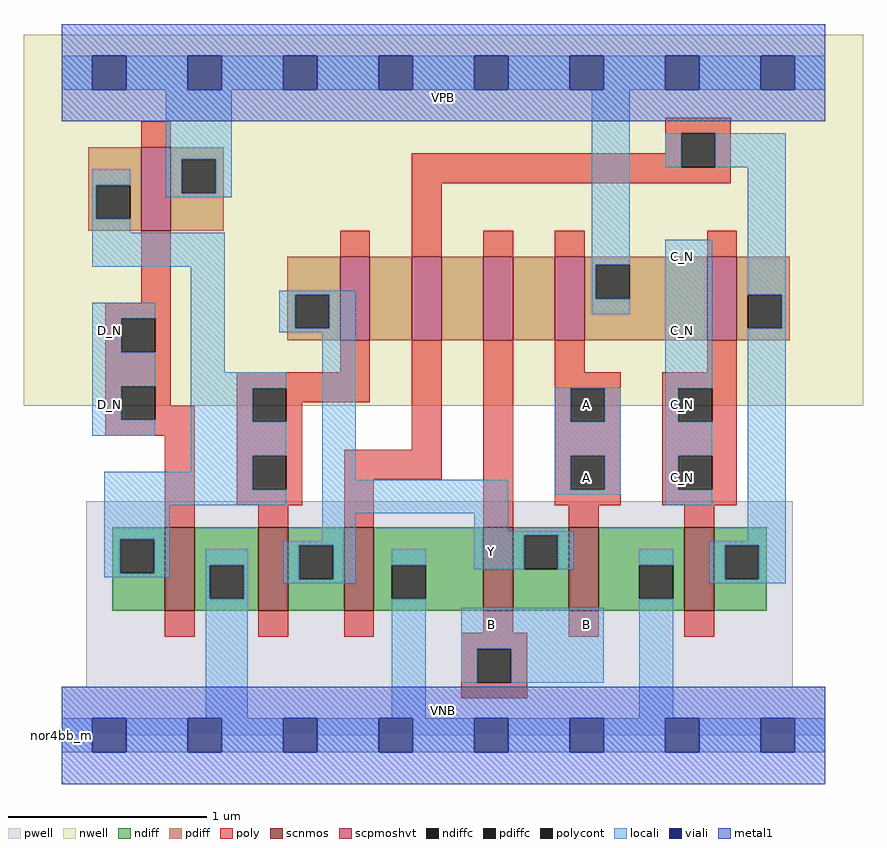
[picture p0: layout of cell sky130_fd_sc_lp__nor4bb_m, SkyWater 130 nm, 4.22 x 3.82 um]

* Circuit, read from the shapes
.subckt sky130_fd_sc_lp__nor4bb_m A B C_N D_N VGND VNB VPB VPWR Y
XM1 VGND D_N n1 VNB sky130_fd_pr__nfet_01v8 w=0.42 l=0.15
XM2 Y n1 VGND VNB sky130_fd_pr__nfet_01v8 w=0.42 l=0.15
XM3 VGND n2 Y VNB sky130_fd_pr__nfet_01v8 w=0.42 l=0.15
XM4 Y B VGND VNB sky130_fd_pr__nfet_01v8 w=0.42 l=0.15
XM5 VGND A Y VNB sky130_fd_pr__nfet_01v8 w=0.42 l=0.15
XM6 n2 C_N VGND VNB sky130_fd_pr__nfet_01v8 w=0.42 l=0.15
XM7 VPWR D_N n1 VPB sky130_fd_pr__pfet_01v8_hvt w=0.42 l=0.15
XM8 n3 n1 Y VPB sky130_fd_pr__pfet_01v8_hvt w=0.42 l=0.15
XM9 n4 n2 n3 VPB sky130_fd_pr__pfet_01v8_hvt w=0.42 l=0.15
XM10 n5 B n4 VPB sky130_fd_pr__pfet_01v8_hvt w=0.42 l=0.15
XM11 VPWR A n5 VPB sky130_fd_pr__pfet_01v8_hvt w=0.42 l=0.15
XM12 n2 C_N VPWR VPB sky130_fd_pr__pfet_01v8_hvt w=0.42 l=0.15
.ends

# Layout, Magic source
magic
tech sky130A
magscale 1 2
<< nwell >>
rect -38 331 806 704
<< pwell >>
rect 25 49 735 235
rect 0 0 768 49
<< scnmos >>
rect 104 125 134 209
rect 198 125 228 209
rect 284 125 314 209
rect 424 125 454 209
rect 510 125 540 209
rect 626 125 656 209
<< scpmoshvt >>
rect 80 507 110 591
rect 280 397 310 481
rect 352 397 382 481
rect 424 397 454 481
rect 496 397 526 481
rect 649 397 679 481
<< ndiff >>
rect 51 197 104 209
rect 51 163 59 197
rect 93 163 104 197
rect 51 125 104 163
rect 134 171 198 209
rect 134 137 149 171
rect 183 137 198 171
rect 134 125 198 137
rect 228 191 284 209
rect 228 157 239 191
rect 273 157 284 191
rect 228 125 284 157
rect 314 171 424 209
rect 314 137 332 171
rect 366 137 424 171
rect 314 125 424 137
rect 454 201 510 209
rect 454 167 465 201
rect 499 167 510 201
rect 454 125 510 167
rect 540 171 626 209
rect 540 137 581 171
rect 615 137 626 171
rect 540 125 626 137
rect 656 191 709 209
rect 656 157 667 191
rect 701 157 709 191
rect 656 125 709 157
<< pdiff >>
rect 27 553 80 591
rect 27 519 35 553
rect 69 519 80 553
rect 27 507 80 519
rect 110 579 163 591
rect 110 545 121 579
rect 155 545 163 579
rect 110 507 163 545
rect 227 443 280 481
rect 227 409 235 443
rect 269 409 280 443
rect 227 397 280 409
rect 310 397 352 481
rect 382 397 424 481
rect 454 397 496 481
rect 526 473 649 481
rect 526 439 537 473
rect 571 439 649 473
rect 526 397 649 439
rect 679 443 732 481
rect 679 409 690 443
rect 724 409 732 443
rect 679 397 732 409
<< ndiffc >>
rect 59 163 93 197
rect 149 137 183 171
rect 239 157 273 191
rect 332 137 366 171
rect 465 167 499 201
rect 581 137 615 171
rect 667 157 701 191
<< pdiffc >>
rect 35 519 69 553
rect 121 545 155 579
rect 235 409 269 443
rect 537 439 571 473
rect 690 409 724 443
<< poly >>
rect 80 591 110 617
rect 607 605 673 621
rect 607 585 623 605
rect 352 571 623 585
rect 657 571 673 605
rect 352 555 673 571
rect 80 435 110 507
rect 280 481 310 507
rect 352 481 382 555
rect 424 481 454 507
rect 496 481 526 507
rect 649 481 679 507
rect 44 419 110 435
rect 44 385 60 419
rect 94 385 110 419
rect 44 351 110 385
rect 280 365 310 397
rect 44 317 60 351
rect 94 331 110 351
rect 176 349 310 365
rect 94 317 134 331
rect 44 301 134 317
rect 104 209 134 301
rect 176 315 192 349
rect 226 335 310 349
rect 226 315 242 335
rect 176 281 242 315
rect 352 287 382 397
rect 176 247 192 281
rect 226 247 242 281
rect 176 231 242 247
rect 284 257 382 287
rect 198 209 228 231
rect 284 209 314 257
rect 424 209 454 397
rect 496 365 526 397
rect 649 365 679 397
rect 496 349 562 365
rect 496 315 512 349
rect 546 315 562 349
rect 496 281 562 315
rect 496 247 512 281
rect 546 247 562 281
rect 496 231 562 247
rect 604 349 679 365
rect 604 315 620 349
rect 654 315 679 349
rect 604 281 679 315
rect 604 247 620 281
rect 654 247 679 281
rect 604 231 679 247
rect 510 209 540 231
rect 626 209 656 231
rect 104 99 134 125
rect 198 99 228 125
rect 284 99 314 125
rect 424 103 454 125
rect 402 87 468 103
rect 510 99 540 125
rect 626 99 656 125
rect 402 53 418 87
rect 452 53 468 87
rect 402 37 468 53
<< polycont >>
rect 623 571 657 605
rect 60 385 94 419
rect 60 317 94 351
rect 192 315 226 349
rect 192 247 226 281
rect 512 315 546 349
rect 512 247 546 281
rect 620 315 654 349
rect 620 247 654 281
rect 418 53 452 87
<< locali >>
rect 0 649 31 683
rect 65 649 127 683
rect 161 649 223 683
rect 257 649 319 683
rect 353 649 415 683
rect 449 649 511 683
rect 545 649 607 683
rect 641 649 703 683
rect 737 649 768 683
rect 105 579 171 649
rect 31 553 69 569
rect 31 519 35 553
rect 105 545 121 579
rect 155 545 171 579
rect 105 541 171 545
rect 31 505 69 519
rect 31 471 164 505
rect 31 419 94 435
rect 31 385 60 419
rect 31 351 94 385
rect 31 317 60 351
rect 31 301 94 317
rect 130 365 164 471
rect 533 473 571 649
rect 607 571 623 605
rect 657 571 728 605
rect 219 443 296 447
rect 219 409 235 443
rect 269 409 296 443
rect 533 439 537 473
rect 533 423 571 439
rect 219 405 296 409
rect 130 349 226 365
rect 130 315 192 349
rect 130 281 226 315
rect 130 265 192 281
rect 43 247 192 265
rect 43 231 226 247
rect 262 257 296 405
rect 496 349 562 350
rect 496 315 512 349
rect 546 315 562 349
rect 496 281 562 315
rect 43 197 109 231
rect 43 163 59 197
rect 93 163 109 197
rect 262 223 449 257
rect 496 247 512 281
rect 546 247 562 281
rect 496 242 562 247
rect 607 349 654 498
rect 607 315 620 349
rect 607 281 654 315
rect 607 247 620 281
rect 607 231 654 247
rect 690 443 728 571
rect 724 409 728 443
rect 262 195 296 223
rect 223 191 296 195
rect 43 159 109 163
rect 145 171 187 187
rect 145 137 149 171
rect 183 137 187 171
rect 223 157 239 191
rect 273 157 296 191
rect 415 205 449 223
rect 415 201 515 205
rect 223 153 296 157
rect 332 171 366 187
rect 145 17 187 137
rect 415 167 465 201
rect 499 167 515 201
rect 690 195 728 409
rect 651 191 728 195
rect 581 171 615 187
rect 332 17 366 137
rect 651 157 667 191
rect 701 157 728 191
rect 651 153 728 157
rect 402 87 545 128
rect 402 53 418 87
rect 452 53 545 87
rect 581 17 615 137
rect 0 -17 31 17
rect 65 -17 127 17
rect 161 -17 223 17
rect 257 -17 319 17
rect 353 -17 415 17
rect 449 -17 511 17
rect 545 -17 607 17
rect 641 -17 703 17
rect 737 -17 768 17
<< viali >>
rect 31 649 65 683
rect 127 649 161 683
rect 223 649 257 683
rect 319 649 353 683
rect 415 649 449 683
rect 511 649 545 683
rect 607 649 641 683
rect 703 649 737 683
rect 31 -17 65 17
rect 127 -17 161 17
rect 223 -17 257 17
rect 319 -17 353 17
rect 415 -17 449 17
rect 511 -17 545 17
rect 607 -17 641 17
rect 703 -17 737 17
<< metal1 >>
rect 0 683 768 715
rect 0 649 31 683
rect 65 649 127 683
rect 161 649 223 683
rect 257 649 319 683
rect 353 649 415 683
rect 449 649 511 683
rect 545 649 607 683
rect 641 649 703 683
rect 737 649 768 683
rect 0 617 768 649
rect 0 17 768 49
rect 0 -17 31 17
rect 65 -17 127 17
rect 161 -17 223 17
rect 257 -17 319 17
rect 353 -17 415 17
rect 449 -17 511 17
rect 545 -17 607 17
rect 641 -17 703 17
rect 737 -17 768 17
rect 0 -49 768 -17
<< labels >>
flabel pwell s 0 0 768 49 0 FreeSans 200 0 0 0 VNB
port 6 nsew ground bidirectional
flabel nwell s 0 617 768 666 0 FreeSans 200 0 0 0 VPB
port 7 nsew power bidirectional
rlabel comment s 0 0 0 0 4 nor4bb_m
flabel metal1 s 0 617 768 666 0 FreeSans 340 0 0 0 VPWR
port 8 nsew power bidirectional
flabel metal1 s 0 0 768 49 0 FreeSans 340 0 0 0 VGND
port 5 nsew ground bidirectional
flabel locali s 415 168 449 202 0 FreeSans 340 0 0 0 Y
port 9 nsew signal output
flabel locali s 607 242 641 276 0 FreeSans 340 0 0 0 C_N
port 3 nsew signal input
flabel locali s 607 316 641 350 0 FreeSans 340 0 0 0 C_N
port 3 nsew signal input
flabel locali s 607 390 641 424 0 FreeSans 340 0 0 0 C_N
port 3 nsew signal input
flabel locali s 607 464 641 498 0 FreeSans 340 0 0 0 C_N
port 3 nsew signal input
flabel locali s 511 242 545 276 0 FreeSans 340 0 0 0 A
port 1 nsew signal input
flabel locali s 511 316 545 350 0 FreeSans 340 0 0 0 A
port 1 nsew signal input
flabel locali s 415 94 449 128 0 FreeSans 340 0 0 0 B
port 2 nsew signal input
flabel locali s 511 94 545 128 0 FreeSans 340 0 0 0 B
port 2 nsew signal input
flabel locali s 31 316 65 350 0 FreeSans 340 0 0 0 D_N
port 4 nsew signal input
flabel locali s 31 390 65 424 0 FreeSans 340 0 0 0 D_N
port 4 nsew signal input
<< properties >>
string LEFsite unit
string LEFclass CORE
string FIXED_BBOX 0 0 768 666
string GDS_FILE $PDKPATH/libs.ref/sky130_fd_sc_lp/gds/sky130_fd_sc_lp.gds
string LEFsymmetry X Y R90
string GDS_END 3360318
string GDS_START 3353034
<< end >>
